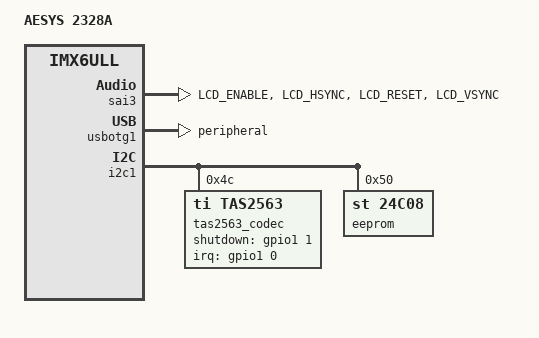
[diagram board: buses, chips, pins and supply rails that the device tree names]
/dts-v1/;

#include "imx6ull.dtsi"

#include "imx6ull-var-dart.dtsi"
#include "imx6ul-imx6ull-var-dart-emmc.dtsi"

#include "imx6ull-var-dart-6ulcustomboard.dtsi"
#include "imx6ul-imx6ull-var-dart-6ulcustomboard-sd-card.dtsi"

/ {
	model = "AESYS 2328A";
	compatible = "variscite,imx6ul-var-dart", "fsl,imx6ull";

    backlight {
        status = "disabled";
    };

    keys {
        status = "disabled";
    };

    /delete-node/ sound;

    sound {
        #address-cells = <1>;
	    #size-cells = <0>;

        compatible = "simple-audio-card";
        simple-audio-card,name = "tas2563";
        simple-audio-card,format = "i2s";
        simple-audio-card,bitclock-inversion;
        simple-audio-card,frame-master = <&cpu_dai>;
        simple-audio-card,bitclock-master = <&cpu_dai>;
        status = "okay";
        
        cpu_dai: simple-audio-card,cpu {
            sound-dai = <&sai3>;
            dai-tdm-slot-num = <2>;
            dai-tdm-slot-width = <16>;
        };

        codec_dai: simple-audio-card,codec {
            sound-dai = <&tas2563_codec>;
            system-clock-frequency = <12288000>;
        };
    };
};

&sai3 {
	pinctrl-names = "default";
	pinctrl-0 = <&pinctrl_sai3>;
	assigned-clocks = <&clks IMX6UL_CLK_SAI3_SEL>,
			  <&clks IMX6UL_CLK_SAI3>;
	assigned-clock-parents = <&clks IMX6UL_CLK_PLL4_AUDIO_DIV>;
	assigned-clock-rates = <0>, <12288000>;
	fsl,sai-mclk-direction-output;
	status = "okay";
};

&touch_3v3_regulator {
    status = "disabled";
};

&adc1 {
    status = "disabled";
};

&tsc {
    status = "disabled";
};

&uart2 {
    status = "disabled";
};

&can1 {
    status = "disabled";
};

&lcdif {
    status = "disabled";
};

&pwm1 {
    status = "disabled";
};

&usbotg1 {
    dr_mode = "peripheral";
};

&usbotg2 {
    status = "disabled";
};

&i2c2 {
    /delete-node/ wm8904@1a;
};

&i2c1 {
    tas2563_codec: tas2563_codec@4c {
        pinctrl-names = "default";
        pinctrl-0 = <&pinctrl_tas2563>;
        compatible = "ti,tas2563";
        reg = <0x4c>;
        #sound-dai-cells = <0>;
        clocks = <&clks IMX6UL_CLK_SAI3>;
		clock-names = "mclk";
        interrupt-parent = <&gpio1>;
        interrupts = <0>;
        shutdown-gpios = <&gpio1 1 0>;
        status = "okay" ;
    };

    eeprom: eeprom@50 {
		compatible = "st,24c08";
		reg = <0x50>;
		pagesize = <16>;
		num-addresses = <4>;
	};
};

&iomuxc {
    pinctrl-names = "default";
	pinctrl-0 = <&pinctrl_custom_gpios>;

    pinctrl_tas2563: tas2563_grp {
        fsl,pins = <
            MX6UL_PAD_GPIO1_IO00__GPIO1_IO00    0xb0    // AMP_nIRQ
            MX6UL_PAD_GPIO1_IO01__GPIO1_IO01    0xb0    // SOM_AMP_PWR_EN
		>;
    };

    pinctrl_sai3: sai3grp {
		fsl,pins = <
            MX6UL_PAD_LCD_ENABLE__SAI3_TX_SYNC  0x17088
            MX6UL_PAD_LCD_HSYNC__SAI3_TX_BCLK   0x17088
            MX6UL_PAD_LCD_RESET__SAI3_TX_DATA   0x11088
            MX6UL_PAD_LCD_VSYNC__SAI3_RX_DATA   0x11088
		>;
	};

    pinctrl_custom_gpios: custom_gpios_grp {
		fsl,pins = <
            MX6UL_PAD_GPIO1_IO02__GPIO1_IO02    0xb0    // I2C_nINT
            MX6UL_PAD_CSI_MCLK__GPIO4_IO17      0xb0    // DIP_SW
            MX6UL_PAD_CSI_DATA00__GPIO4_IO21    0xb0    // HW_REV1
            MX6UL_PAD_CSI_DATA01__GPIO4_IO22    0xb0    // HW_REV2
            MX6UL_PAD_CSI_DATA02__GPIO4_IO23    0xb0    // HW_REV3
            MX6UL_PAD_CSI_DATA03__GPIO4_IO24    0xb0    // HW_REV4
            MX6UL_PAD_SNVS_TAMPER1__GPIO5_IO01  0xb0    // General purpose GPIO
            MX6UL_PAD_SNVS_TAMPER3__GPIO5_IO03  0xb0    // USB_nPRES
		>;
	};
};
